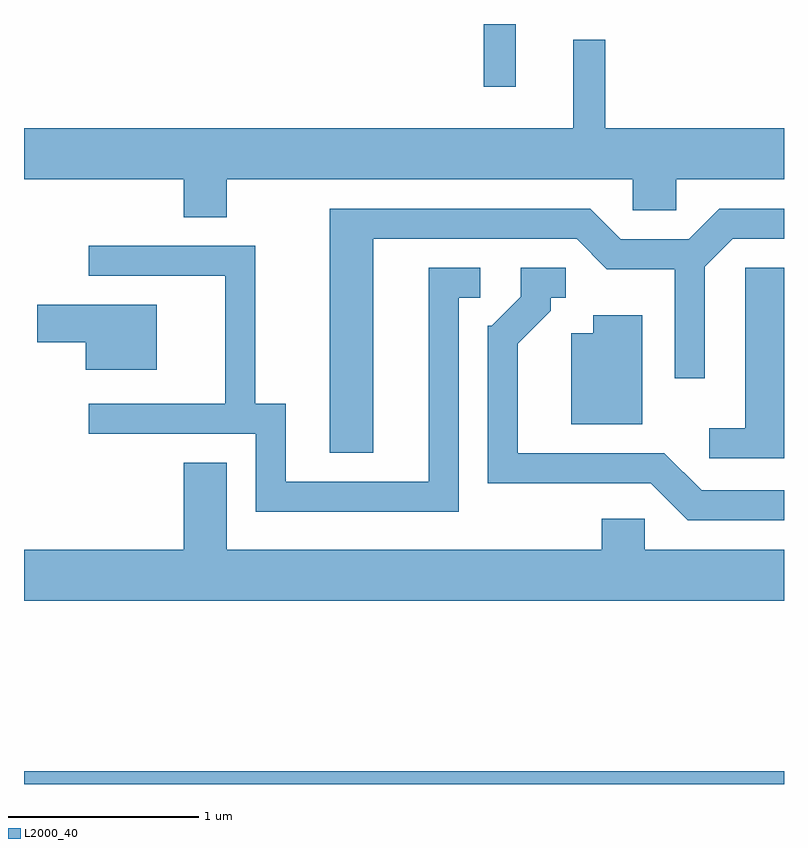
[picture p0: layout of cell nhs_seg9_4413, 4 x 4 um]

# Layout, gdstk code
import gdstk
lib = gdstk.Library(unit=1e-6, precision=1e-09)
def R(c, l, rs):  # rectangles x0, y0, x1, y1
    for r in rs: c.add(gdstk.rectangle(r[:2], r[2:], *l))
def P(c, l, *ps):  # polygons
    for p in ps: c.add(gdstk.Polygon(p, *l))
L2000_40 = (2000, 40)

nhs_seg9_4413 = lib.new_cell('nhs_seg9_4413')
R(nhs_seg9_4413, L2000_40, [(315.611,1966.432,319.611,1966.499), (318.031,1970.103,318.199,1970.432)])
P(nhs_seg9_4413, L2000_40, [(316.679,1969.616),(318.816,1969.616),(318.816,1969.451),(319.044,1969.451),(319.044,1969.616),(319.611,1969.616),(319.611,1969.884),(318.669,1969.884),(318.669,1970.348),(318.501,1970.348),(318.501,1969.884),(315.611,1969.884),(315.611,1969.616),(316.451,1969.616),(316.451,1969.416),(316.679,1969.416)],
  [(317.449,1969.301),(318.519,1969.301),(318.679,1969.141),(319.036,1969.141),(319.036,1968.568),(319.194,1968.568),(319.194,1969.154),(319.342,1969.301),(319.611,1969.301),(319.611,1969.459),(319.269,1969.459),(319.109,1969.299),(318.752,1969.299),(318.592,1969.459),(317.221,1969.459),(317.221,1968.176),(317.449,1968.176)],
  [(317.899,1968.991),(318.013,1968.991),(318.013,1969.149),(317.741,1969.149),(317.741,1968.024),(316.989,1968.024),(316.989,1968.434),(316.829,1968.434),(316.829,1969.264),(315.953,1969.264),(315.953,1969.106),(316.671,1969.106),(316.671,1968.434),(315.953,1968.434),(315.953,1968.276),(316.831,1968.276),(316.831,1967.866),(317.899,1967.866)],
  [(319.611,1969.149),(319.406,1969.149),(319.406,1968.304),(319.218,1968.304),(319.218,1968.146),(319.611,1968.146)],
  [(319.611,1967.979),(319.177,1967.979),(318.982,1968.174),(318.209,1968.174),(318.209,1968.749),(318.384,1968.924),(318.384,1968.991),(318.463,1968.991),(318.463,1969.149),(318.226,1969.149),(318.226,1968.997),(318.074,1968.844),(318.051,1968.844),(318.051,1968.016),(318.909,1968.016),(319.104,1967.821),(319.611,1967.821)],
  [(316.309,1968.954),(315.681,1968.954),(315.681,1968.756),(315.936,1968.756),(315.936,1968.611),(316.309,1968.611)],
  [(318.864,1968.899),(318.606,1968.899),(318.606,1968.804),(318.491,1968.804),(318.491,1968.326),(318.864,1968.326)],
  [(319.611,1967.664),(318.879,1967.664),(318.879,1967.829),(318.651,1967.829),(318.651,1967.664),(316.679,1967.664),(316.679,1968.124),(316.451,1968.124),(316.451,1967.664),(315.611,1967.664),(315.611,1967.396),(319.611,1967.396)])

lib.write_gds('nhs_seg9_4413.gds')
